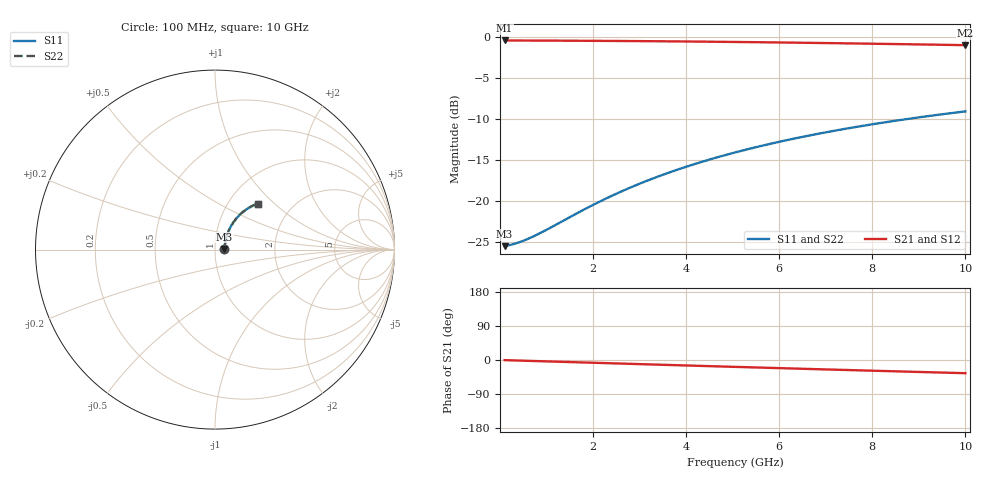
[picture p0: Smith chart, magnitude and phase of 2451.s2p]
# Hz S RI R 50.00
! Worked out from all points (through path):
!   100 points, 100 MHz to 10 GHz, reference 50 ohm
!   highest |S21| = -0.47 dB at 100 MHz (marker M1); lowest = -1.0 dB at 10 GHz (marker M2)
!   group delay of S21, straight-line fit = 9.69 ps
!   lowest |S11| = -25.5 dB at 100 MHz (marker M3), VSWR 1.11, Z = 55.6 + j0.394 ohm
!   |S11| at or under -10 dB: start of sweep to 8.801 GHz
!   |S22| runs from -25.5 to -9.1 dB; largest |S21 - S12| = 0
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1e8  0.0528 0.00353  0.9472 -0.00602  0.9472 -0.00602  0.0528 0.00353
3e8  0.0535 0.0106  0.9464 -0.018  0.9464 -0.018  0.0535 0.0106
4e8  0.0539 0.0141  0.9461 -0.024  0.9461 -0.024  0.0539 0.0141
5e8  0.0542 0.0176  0.9457 -0.03  0.9457 -0.03  0.0542 0.0176
7e8  0.0551 0.0246  0.9448 -0.042  0.9448 -0.042  0.0551 0.0246
1e9  0.0565 0.0351  0.9431 -0.0599  0.9431 -0.0599  0.0565 0.0351
1.8e9  0.0622 0.0626  0.9368 -0.1073  0.9368 -0.1073  0.0622 0.0626
2.2e9  0.0659 0.076  0.9325 -0.1307  0.9325 -0.1307  0.0659 0.076
2.6e9  0.0704 0.0893  0.9275 -0.1538  0.9275 -0.1538  0.0704 0.0893
3e9  0.0754 0.1022  0.9217 -0.1767  0.9217 -0.1767  0.0754 0.1022
3.4e9  0.0811 0.1148  0.9152 -0.1993  0.9152 -0.1993  0.0811 0.1148
3.8e9  0.0873 0.1271  0.908 -0.2216  0.908 -0.2216  0.0873 0.1271
4.2e9  0.0942 0.139  0.9002 -0.2434  0.9002 -0.2434  0.0942 0.139
4.6e9  0.1015 0.1505  0.8917 -0.2649  0.8917 -0.2649  0.1015 0.1505
5.1e9  0.1115 0.1643  0.8801 -0.2911  0.8801 -0.2911  0.1115 0.1643
5.5e9  0.12 0.1748  0.8703 -0.3116  0.8703 -0.3116  0.12 0.1748
5.9e9  0.1289 0.1848  0.8599 -0.3316  0.8599 -0.3316  0.1289 0.1848
6.7e9  0.1481 0.2032  0.8374 -0.3701  0.8374 -0.3701  0.1481 0.2032
7.5e9  0.1686 0.2195  0.8132 -0.4064  0.8132 -0.4064  0.1686 0.2195
8.4e9  0.1931 0.2352  0.784 -0.4447  0.784 -0.4447  0.1931 0.2352
9.2e9  0.2158 0.2468  0.7567 -0.4764  0.7567 -0.4764  0.2158 0.2468
1e10  0.2391 0.256  0.7283 -0.5058  0.7283 -0.5058  0.2391 0.256
